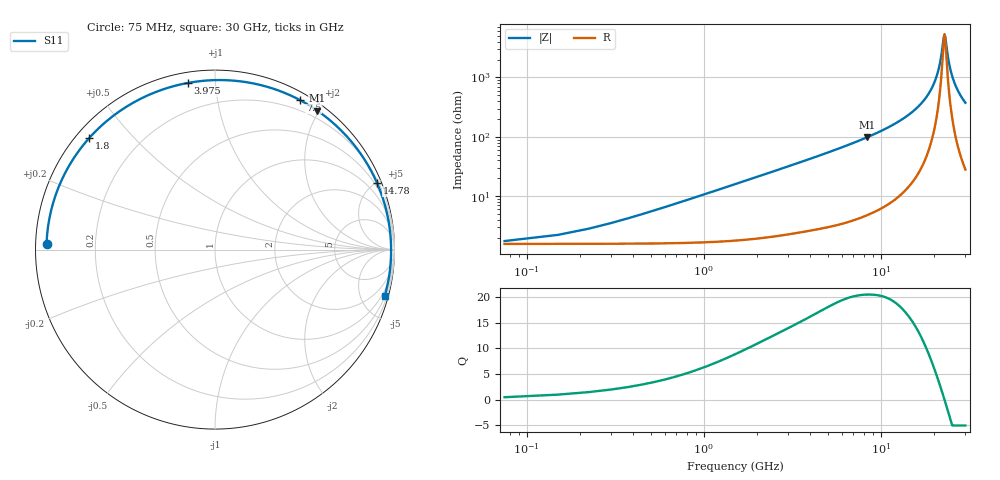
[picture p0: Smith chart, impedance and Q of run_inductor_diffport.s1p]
#  Hz  S  RI  R  50
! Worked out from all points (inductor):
!   400 points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, 75 MHz to 30 GHz, reference 50 ohm
!   read as one part to ground: L = 1.68 nH near 525 MHz
!   highest Q = 20.5 at 8.4 GHz (marker M1), where L = 1.87 nH
!   self-resonance near 22.87 GHz
!   S11 on the Smith chart (normalised r, x): 75 MHz: 0.03, +0.02; 1.8 GHz: 0.04, +0.38; 3.975 GHz: 0.05, +0.85; 7.5 GHz: 0.08, +1.72; 14.78 GHz: 0.32, +5.02; 30 GHz: 0.56, -7.47
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7.5e7  -0.9385 0.0298
4.5e8  -0.922 0.177
9e8  -0.8726 0.3445
1.35e9  -0.7961 0.4948
1.8e9  -0.6994 0.623
2.25e9  -0.5899 0.7272
2.775e9  -0.4546 0.8191
3.3e9  -0.3185 0.8824
3.825e9  -0.187 0.9213
3.975e9  -0.1508 0.9287
4.35e9  -0.0633 0.9406
4.8e9  0.0353 0.9445
5.7e9  0.2099 0.9266
6.6e9  0.3552 0.8859
7.5e9  0.4742 0.8327
7.575e9  0.483 0.8279
8.4e9  0.571 0.7736
9.075e9  0.6317 0.7279
9.75e9  0.6839 0.6821
1.1325e10  0.7791 0.5778
1.2975e10  0.8493 0.4752
1.4775e10  0.9021 0.3724
1.5075e10  0.909 0.3562
1.6875e10  0.9422 0.2633
1.8825e10  0.9647 0.1709
2.2575e10  0.9812 0.0118
2.6325e10  0.9729 -0.1297
3e10  0.9464 -0.2564
